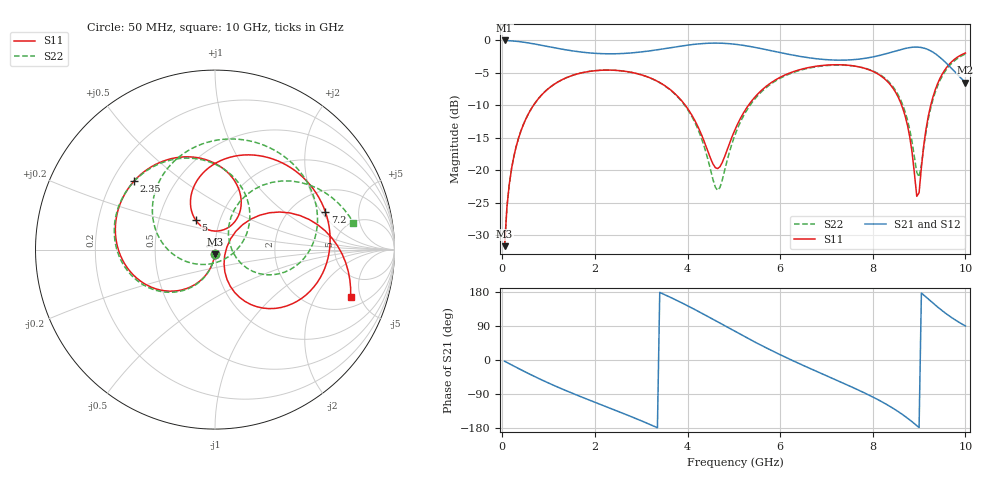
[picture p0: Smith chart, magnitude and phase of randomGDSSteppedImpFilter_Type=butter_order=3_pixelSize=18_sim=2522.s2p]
! freq	dB(S11)	phase(S11)	dB(S12)	phase(S12)
!  dB(S21)	phase(S21)	dB(S22)	phase(S22)
!S-par simulation data
#  GHz  S  DB  R 50
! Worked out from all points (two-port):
!   200 points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, 50 MHz to 10 GHz, reference 50 ohm
!   highest |S21| = -0.01 dB at 50 MHz (marker M1); lowest = -6.5 dB at 10 GHz (marker M2)
!   |S21| within 3 dB of the highest: start of sweep to 7.107 GHz; 7.483 GHz to 9.516 GHz (2.032 GHz wide, 23.9 % of centre)
!   lowest |S11| = -31.7 dB at 50 MHz (marker M3), VSWR 1.05, Z = 49.8 - j2.6 ohm
!   |S11| at or under -10 dB: start of sweep to 672.5 MHz; 3.954 GHz to 5.314 GHz (1.36 GHz wide, 29.4 % of centre); 8.624 GHz to 9.251 GHz (626.4 MHz wide, 7.01 % of centre)
!   |S22| runs from -31.7 to -2.1 dB; largest |S21 - S12| = 0
!   S11 on the Smith chart (normalised r, x): 50 MHz: 1.00, -0.05; 2.35 GHz: 0.29, +0.34; 5 GHz: 0.77, +0.26; 7.2 GHz: 3.00, +2.19; 10 GHz: 2.78, -4.08
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0.05  -31.65 -93.4  -0.01 -3.3  -0.01 -3.3  -31.65 -93.3
0.2  -19.73 -103.5  -0.07 -12.9  -0.07 -12.9  -19.72 -103.1
0.5  -12.21 -122.7  -0.31 -31.7  -0.31 -31.7  -12.21 -121.7
1.05  -7.11 -155.2  -1.03 -63.6  -1.03 -63.6  -7.10 -153.1
1.75  -4.93 168.5  -1.83 -99.5  -1.83 -99.5  -4.93 171.6
2.35  -4.57 139.6  -2.06 -128.3  -2.06 -128.3  -4.57 143.1
3.4  -6.48 88.6  -1.38 178.4  -1.38 178.4  -6.51 89.1
4  -10.46 60.8  -0.73 143.2  -0.73 143.2  -10.61 49.3
4.65  -19.72 90.3  -0.41 100.7  -0.41 100.7  -23.07 -68.2
5  -14.15 123.2  -0.57 77.1  -0.57 77.1  -15.03 -158.6
5.05  -13.34 123.0  -0.61 73.8  -0.61 73.8  -14.07 -164.5
5.8  -6.53 91.6  -1.57 25.9  -1.57 25.9  -6.70 136.4
6.7  -4.06 44.4  -2.75 -25.3  -2.75 -25.3  -4.15 83.4
7.2  -3.74 18.9  -3.03 -52.3  -3.03 -52.3  -3.79 56.4
7.85  -4.34 -15.1  -2.74 -88.6  -2.74 -88.6  -4.32 20.9
8.35  -6.57 -44.3  -1.92 -120.9  -1.92 -120.9  -6.39 -8.6
8.75  -13.08 -67.3  -1.16 -153.5  -1.16 -153.5  -12.26 -29.9
8.95  -23.98 -31.3  -1.03 -173.0  -1.03 -173.0  -20.30 -4.1
9  -23.43 11.8  -1.05 -178.1  -1.05 -178.1  -21.01 23.5
9.15  -13.63 42.0  -1.29 166.0  -1.29 166.0  -14.05 63.7
9.35  -7.58 30.1  -2.05 145.0  -2.05 145.0  -7.96 57.0
10  -1.93 -19.2  -6.50 89.8  -6.50 89.8  -2.10 11.0
